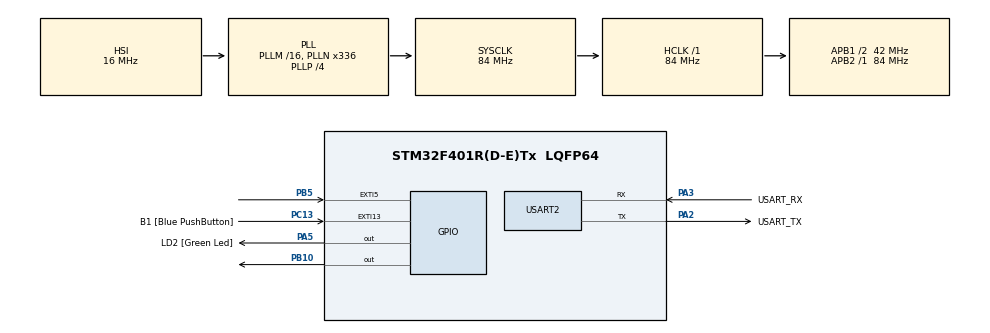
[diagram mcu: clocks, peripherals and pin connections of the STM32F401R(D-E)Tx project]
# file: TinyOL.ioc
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Mcu.Family=STM32F4
Mcu.Name=STM32F401R(D-E)Tx
Mcu.Package=LQFP64
NVIC.EXTI15_10_IRQn=true\:0\:0\:false\:false\:true\:true\:true
NVIC.EXTI9_5_IRQn=true\:0\:0\:false\:false\:true\:true\:true
NVIC.PriorityGroup=NVIC_PRIORITYGROUP_0
NVIC.TIM1_UP_TIM10_IRQn=true\:0\:0\:false\:false\:true\:true\:true
NVIC.USART2_IRQn=true\:0\:0\:false\:false\:true\:true\:true
PA13.GPIO_Label=TMS
PA13.Mode=Serial_Wire
PA13.Signal=SYS_JTMS-SWDIO
PA14.GPIO_Label=TCK
PA14.Mode=Serial_Wire
PA14.Signal=SYS_JTCK-SWCLK
PA2.GPIO_Label=USART_TX
PA2.GPIO_Mode=GPIO_MODE_AF_PP
PA2.GPIO_PuPd=GPIO_NOPULL
PA2.GPIO_Speed=GPIO_SPEED_FREQ_LOW
PA2.Mode=Asynchronous
PA2.Signal=USART2_TX
PA3.GPIO_Label=USART_RX
PA3.GPIO_Mode=GPIO_MODE_AF_PP
PA3.GPIO_PuPd=GPIO_NOPULL
PA3.GPIO_Speed=GPIO_SPEED_FREQ_LOW
PA3.Mode=Asynchronous
PA3.Signal=USART2_RX
PA5.GPIO_Label=LD2 [Green Led]
PA5.GPIO_Mode=GPIO_MODE_OUTPUT_PP
PA5.GPIO_PuPd=GPIO_NOPULL
PA5.GPIO_Speed=GPIO_SPEED_FREQ_LOW
PA5.Signal=GPIO_Output
PB10.Signal=GPIO_Output
PB3.GPIO_Label=SWO
PB3.Signal=SYS_JTDO-SWO
PB5.Signal=GPXTI5
PC13-ANTI_TAMP.GPIO_Label=B1 [Blue PushButton]
PC13-ANTI_TAMP.GPIO_ModeDefaultEXTI=GPIO_MODE_IT_FALLING
PC13-ANTI_TAMP.GPIO_PuPd=GPIO_NOPULL
PC13-ANTI_TAMP.Signal=GPXTI13
PC14-OSC32_IN.Mode=LSE-External-Oscillator
PC14-OSC32_IN.Signal=RCC_OSC32_IN
PC15-OSC32_OUT.Mode=LSE-External-Oscillator
PC15-OSC32_OUT.Signal=RCC_OSC32_OUT
PH0\ -\ OSC_IN.Mode=HSE-External-Clock-Source
PH0\ -\ OSC_IN.Signal=RCC_OSC_IN
PH1\ -\ OSC_OUT.Mode=HSE-External-Clock-Source
PH1\ -\ OSC_OUT.Signal=RCC_OSC_OUT
ProjectManager.HeapSize=0x200
ProjectManager.StackSize=0x1000
ProjectManager.TargetToolchain=STM32CubeIDE
RCC.48MHZClocksFreq_Value=48000000
RCC.AHBFreq_Value=84000000
RCC.APB1CLKDivider=RCC_HCLK_DIV2
RCC.APB1Freq_Value=42000000
RCC.APB1TimFreq_Value=84000000
RCC.APB2Freq_Value=84000000
RCC.APB2TimFreq_Value=84000000
RCC.CortexFreq_Value=84000000
RCC.HCLKFreq_Value=84000000
RCC.HSE_VALUE=8000000
RCC.HSI_VALUE=16000000
RCC.PLLN=336
RCC.PLLP=RCC_PLLP_DIV4
RCC.PLLQ=7
RCC.SYSCLKFreq_VALUE=84000000
RCC.SYSCLKSource=RCC_SYSCLKSOURCE_PLLCLK
RCC.VCOOutputFreq_Value=336000000
STMicroelectronics.X-CUBE-AI.6.0.0.ActivationBufferSizeList=3936
STMicroelectronics.X-CUBE-AI.6.0.0.ApplicationCcDeviceJjApplication=ApplicationTemplate
STMicroelectronics.X-CUBE-AI.6.0.0.HeapSize=0x200
STMicroelectronics.X-CUBE-AI.6.0.0.InternalRamActivationBufferMaxSize=AI_NETWORK_DATA_ACTIVATIONS_SIZE
STMicroelectronics.X-CUBE-AI.6.0.0.LatestDirectoryUsed-1b13fbfa771a0f7f96e160cd38a638a78c071cb71243306542fe5050afff5c71=C\:\\Users\\massi\\UNI\\Magistrale\\Anno 5\\Semestre 2\\Tesi\\Code\\Letters_application\\Python\\Saved_models\\Frozen_model
STMicroelectronics.X-CUBE-AI.6.0.0.MaximumNumberOfInputLayer=1
STMicroelectronics.X-CUBE-AI.6.0.0.MaximumNumberOfOutputLayer=1
STMicroelectronics.X-CUBE-AI.6.0.0.MaximumSizeOfInputLayer=AI_NETWORK_IN_1_SIZE_BYTES
STMicroelectronics.X-CUBE-AI.6.0.0.MaximumSizeOfOutputLayer=AI_NETWORK_OUT_1_SIZE_BYTES
STMicroelectronics.X-CUBE-AI.6.0.0.ModelActualCompression-1b13fbfa771a0f7f96e160cd38a638a78c071cb71243306542fe5050afff5c71=0.0
STMicroelectronics.X-CUBE-AI.6.0.0.ModelCompression-1b13fbfa771a0f7f96e160cd38a638a78c071cb71243306542fe5050afff5c71=1
STMicroelectronics.X-CUBE-AI.6.0.0.ModelFlashOccupation-1b13fbfa771a0f7f96e160cd38a638a78c071cb71243306542fe5050afff5c71=373760
STMicroelectronics.X-CUBE-AI.6.0.0.ModelHashList=1b13fbfa771a0f7f96e160cd38a638a78c071cb71243306542fe5050afff5c71
STMicroelectronics.X-CUBE-AI.6.0.0.ModelKind-1b13fbfa771a0f7f96e160cd38a638a78c071cb71243306542fe5050afff5c71=KERAS
STMicroelectronics.X-CUBE-AI.6.0.0.ModelMacc-1b13fbfa771a0f7f96e160cd38a638a78c071cb71243306542fe5050afff5c71=93696
STMicroelectronics.X-CUBE-AI.6.0.0.ModelName-1b13fbfa771a0f7f96e160cd38a638a78c071cb71243306542fe5050afff5c71=network
STMicroelectronics.X-CUBE-AI.6.0.0.ModelNameList=network
STMicroelectronics.X-CUBE-AI.6.0.0.ModelRamOccupation-1b13fbfa771a0f7f96e160cd38a638a78c071cb71243306542fe5050afff5c71=3936
STMicroelectronics.X-CUBE-AI.6.0.0.ModelStructureFile-1b13fbfa771a0f7f96e160cd38a638a78c071cb71243306542fe5050afff5c71=C\:\\Users\\massi\\UNI\\Magistrale\\Anno 5\\Semestre 2\\Tesi\\Code\\Letters_application\\Python\\Saved_models\\Frozen_model\\model.h5
STMicroelectronics.X-CUBE-AI.6.0.0.ModelType-1b13fbfa771a0f7f96e160cd38a638a78c071cb71243306542fe5050afff5c71=Saved model
STMicroelectronics.X-CUBE-AI.6.0.0.StackSize=0x1000
STMicroelectronics.X-CUBE-AI.6.0.0.WorkingBufferStartAddrList=0xFFFFFFFF
STMicroelectronics.X-CUBE-AI.6.0.0.XAaCUBEAaAICcArtificialOoIntelligenceJjCore=true
TIM10.Period=40-1
TIM10.Prescaler=21-1
USART2.VirtualMode=VM_ASYNC
VP_CRC_VS_CRC.Mode=CRC_Activate
VP_STMicroelectronics.X-CUBE-AI_VS_ArtificialOoIntelligenceJjXAaCUBEAaAI_6.0.0.Mode=ArtificialOoIntelligenceJjXAaCUBEAaAI
VP_STMicroelectronics.X-CUBE-AI_VS_DeviceJjApplication_6.0.0.Mode=DeviceJjApplication
VP_TIM10_VS_ClockSourceINT.Mode=Enable_Timer
board=NUCLEO-F401RE

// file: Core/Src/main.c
/* USER CODE BEGIN Header */
/**
  ******************************************************************************
  * @file           : main.c
  * @brief          : Main program body
  ******************************************************************************
  * @attention
  *
  * <h2><center>&copy; Copyright (c) 2021 STMicroelectronics.
  * All rights reserved.</center></h2>
  *
  * This software component is licensed by ST under BSD 3-Clause license,
  * the "License"; You may not use this file except in compliance with the
  * License. You may obtain a copy of the License at:
  *                        opensource.org/licenses/BSD-3-Clause
  *
  ******************************************************************************
  */
/* USER CODE END Header */
#include "main.h"
#include "crc.h"
#include "tim.h"
#include "usart.h"
#include "gpio.h"
#include "app_x-cube-ai.h"

/* USER CODE BEGIN Includes */

// Includes for the STM AI
#include "network.h"
#include "network_data.h"
#include "ai_platform.h"
#include "ai_datatypes_defines.h"

// My library include
#include "TinyOL.h"
#include "layer_weights.h"

/* USER CODE END Includes */

/* USER CODE BEGIN PV */

// Values for the CUBE AI
ai_float in_data[AI_NETWORK_IN_1_SIZE];
ai_float out_data[AI_NETWORK_OUT_1_SIZE];

// Flags for enabling/disabling the prediction
int ENABLE_INFERENCE = 0;
uint8_t BlueButton = 0;
char letter[1];

uint8_t dummy = 0;

// Values for keeping track of time passed
uint32_t timer_counter = 0;
uint32_t inferenceTime_frozen = 0;
uint32_t inferenceTime_OL = 0;

/* USER CODE END PV */

void SystemClock_Config(void);

int main(void)
{

  /* MCU Configuration--------------------------------------------------------*/

  /* Reset of all peripherals, Initializes the Flash interface and the Systick. */
  HAL_Init();

  /* Configure the system clock */
  SystemClock_Config();

  /* Initialize all configured peripherals */
  MX_GPIO_Init();
  MX_USART2_UART_Init();
  MX_CRC_Init();
  MX_TIM10_Init();
  MX_X_CUBE_AI_Init();
  /* USER CODE BEGIN 2 */

#ifdef DEBUG_SEND_HISTORY
  int numeri[10*8] = {46,13,107,3,57,65,127,81,89,70,
  						143,239,142,158,207,189,172,230,156,208,
  						374,359,375,371,303,298,350,257,349,333,
  						402,502,485,461,489,479,454,508,485,480,
  						527,565,614,517,528,613,625,623,587,521,
  						712,742,685,746,759,747,754,702,653,640,
  						775,809,798,853,804,840,828,788,890,819,
  						906,1019,911,1005,1016,953,1016,987,961,1023};
# endif

  // *************************************
  //                  INITIALIZE OL-STRUCT
  // *************************************

  OL_LAYER_STRUCT OL_layer;

  // The available algorithms are:
  //	MODE_OL
  //	MODE_OL_V2
  //	MODE_CWR
  //    MODE_LWF
  //	MODE_OL_batch
  //	MODE_OL_V2_batch
  //	MODE_LWF_batch
  // 	MODE_MY_ALG
  OL_layer.ALGORITHM = MODE_MY_ALG;

  OL_layer.batch_size = 16;

  // Define the learn rate depending on the algorithm
  if(OL_layer.ALGORITHM       == MODE_OL){
	  OL_layer.l_rate = 0.001;
  }else if(OL_layer.ALGORITHM == MODE_OL_batch){
	  OL_layer.l_rate = 0.0001;
  }else if(OL_layer.ALGORITHM == MODE_OL_V2){
	  OL_layer.l_rate = 0.001;
  }else if(OL_layer.ALGORITHM == MODE_OL_V2_batch){
	  OL_layer.l_rate = 0.001;
  }else if(OL_layer.ALGORITHM == MODE_CWR){
	  OL_layer.l_rate = 0.0005;
	  OL_layer.end_training = 3476;
  }else if(OL_layer.ALGORITHM == MODE_LWF){
	  OL_layer.l_rate = 0.001;
  }else if(OL_layer.ALGORITHM == MODE_LWF_batch){
	  OL_layer.l_rate = 0.0007;
  }else if(OL_layer.ALGORITHM == MODE_MY_ALG){
	  OL_layer.l_rate = 0.005;
  }

  // Initialize all the other values in the struct
  // The values below should always stay the same
  OL_layer.WIDTH    	= 5;
  OL_layer.HEIGHT   	= AI_NETWORK_OUT_1_SIZE;
  OL_layer.counter  	= 0;
  OL_layer.OL_ERROR 	= 0;
  OL_layer.freeRAMbytes = 100000000;

  // Allocate all the necessary matrices/arrays
  OL_allocateMemory(&OL_layer);

  // Fill up labels
  OL_layer.label[0] = 'A';
  OL_layer.label[1] = 'E';
  OL_layer.label[2] = 'I';
  OL_layer.label[3] = 'O';
  OL_layer.label[4] = 'U';

  // Fill up the weight matrix with the weights from the Keras model
  for(int i=0; i<OL_layer.WIDTH*OL_layer.HEIGHT; i++){
  	  OL_layer.weights[i] = saved_weights[i];
  }
  // Fill up the biases array with the weights from the Keras model
  for(int i=0; i<OL_layer.WIDTH; i++){
	  OL_layer.biases[i] = saved_biases[i];
  }

  // Fill up weights2 and biases2 only in the case of LWF or MY_ALG
  if(OL_layer.ALGORITHM == MODE_LWF || OL_layer.ALGORITHM == MODE_LWF_batch || OL_layer.ALGORITHM == MODE_MY_ALG){
	  for(int i=0; i<OL_layer.WIDTH*OL_layer.HEIGHT; i++){
	  	  OL_layer.weights_2[i] = saved_weights[i];
	  }
	  for(int i=0; i<OL_layer.WIDTH; i++){
		  OL_layer.biases_2[i] = saved_biases[i];
	  }
  }

  HAL_TIM_Base_Start_IT(&htim10);	// Start the timer for counting inference time (1 timer increment = 10 micro sec)

  /* USER CODE END 2 */

  /* Infinite loop */
  /* USER CODE BEGIN WHILE */
  while (1)
  {

	  // ENABLE_INFERENCE flag is raised at the end of the data communication between pc-STM
	  // (see interrupt callbacks at the end of the main)
	  if(ENABLE_INFERENCE == 1){

		  // *************************
		  //                   DATA IN
		  // *************************
		  // Reset the info carried from the OL struct
		  OL_resetInfo(&OL_layer);

		  // Decode the message received from the UART communication
		  // The message sent from the PC is specifically encoded in a way that allows
		  // to recognize negative values easily -> explained in the readme file
		  uint8_t tmp;
		  for(int k=0; k<600; k++){
			  tmp = msgRxData[k*2];
			  if((tmp&128) == 128){
				  tmp = tmp & 127;
				  in_data[k] = -((tmp << 8) | (msgRxData[(k*2)+1]));
			  }else{
				  in_data[k] = (msgRxData[(k*2)] << 8) | (msgRxData[(k*2)+1]);
			  }
		  }

		  // *************************
		  //                 INFERENCE
		  // *************************
		  timer_counter = 0;										// Reset time

		  ai_run_v2(&in_data, &out_data);							// Perform inference from frozen model

		  inferenceTime_frozen = timer_counter;						// Measure frozen model inference time

		  OL_checkNewClass(&OL_layer, letter);						// Check if the letter is known, otherwise increase dimensions of weight and biases
		  OL_lettToSoft(&OL_layer, letter);							// Transform the letter char into a hot one encoded softmax array

		  OL_train(&OL_layer, out_data);							// Perform training on last captured sample

		  inferenceTime_OL = timer_counter-inferenceTime_frozen;	// Measure OL time

		  // *************************
		  //                  DATA OUT
		  // *************************
		  // Send info data to pc
		  msgInfo[0] = OL_layer.ALGORITHM;									// int
		  msgInfo[1] = OL_layer.counter;									// int
		  msgInfo[2] = (uint8_t)(inferenceTime_frozen & LOW_BYTE); 	 		// int - low byte
		  msgInfo[3] = (uint8_t)((inferenceTime_frozen>>8) & LOW_BYTE); 	// int - high byte
		  msgInfo[4] = (uint8_t)(inferenceTime_OL & LOW_BYTE);				// int - low byte
		  msgInfo[5] = (uint8_t)((inferenceTime_OL>>8) & LOW_BYTE);			// int - high byte
		  msgInfo[6] = OL_layer.new_class;									// 0 or 1
		  msgInfo[7] = OL_layer.prediction_correct;							// 0, 1, 2
		  msgInfo[8] = OL_layer.WIDTH;										// int
		  msgInfo[9] = OL_layer.vowel_guess;								// char

		  HAL_UART_Transmit(&huart2, (uint8_t*)msgInfo, INFO_LEN, 100);		// Send message

#ifdef DEBUG_SEND_HISTORY
		  // Fill the array with the history of BIAS - SOFTMAX - PRE SOFTMAX
		  for(int k=0; k<8; k++){
			  sendBiasUART(&OL_layer, k, k*4, msgBias);
			  sendSoftmaxUART(&OL_layer, k, k*4, msgSoftmax);
		  }

		  // Fill the array with the history of WEIGHTS
		  for(int k=0; k<10*8; k++){
			  sendWeightsUART(&OL_layer, numeri[k], k*4, msgWeights);   // send weight
		  }

		  // Fill the array with the history of FROZEN MODEL OUTPUT
		  for(int k=0; k<128; k++){
			  sendFrozenOutUART(&OL_layer, k, k*4, out_data, msgFrozenOut);
		  }

		  if(OL_layer.counter <= 951){ //3476
			  HAL_Delay(15); 			// Helps the code to not get stuck, no idea why
			  HAL_UART_Transmit(&huart2, (uint8_t*)msgBias, 8*4, 100);
			  HAL_UART_Transmit(&huart2, (uint8_t*)msgWeights, 10*8*4, 100);
			  HAL_UART_Transmit(&huart2, (uint8_t*)msgFrozenOut, 128*4, 100);
			  HAL_UART_Transmit(&huart2, (uint8_t*)msgSoftmax, 8*4, 100);
			  HAL_UART_Transmit(&huart2, (uint8_t*)msgPreSoftmax, 8*4, 100);
		  }
#endif

		  HAL_GPIO_TogglePin(GPIOA, GPIO_PIN_5);	// LED toggle
		  ENABLE_INFERENCE = 0;						// Reset inference flag

		  if(((OL_layer.counter-1) % 10 == 0) && (OL_layer.counter >= 100)){
			  OL_layer.batch_size = 8;
		  }
	  }

	  HAL_Delay(5); 			// Helps the code to not get stuck

	  // If the blue button has been pressed and the cycle inference cycle is finished enable again the interrupt for the infinite cycle
	  if(BlueButton == 1 && ENABLE_INFERENCE == 0){
		  HAL_GPIO_WritePin(GPIOB, GPIO_PIN_10, GPIO_PIN_SET);	// Set high the value for interrupt for infinity cycle
	  }

	  // ************************************************************************************
	  // IMPORTANT
	  // Remember to always comment or remove the line below "MX_X_CUBE_AI_Process();"
	  // The line gets generated automatically from the CUBE IDE/CUBE MX
	  // ************************************************************************************
    /* USER CODE END WHILE */

  //MX_X_CUBE_AI_Process();
  }
}

void SystemClock_Config(void)
{
  RCC_OscInitTypeDef RCC_OscInitStruct = {0};
  RCC_ClkInitTypeDef RCC_ClkInitStruct = {0};

  /** Configure the main internal regulator output voltage
  */
  __HAL_RCC_PWR_CLK_ENABLE();
  __HAL_PWR_VOLTAGESCALING_CONFIG(PWR_REGULATOR_VOLTAGE_SCALE2);
  /** Initializes the RCC Oscillators according to the specified parameters
  * in the RCC_OscInitTypeDef structure.
  */
  RCC_OscInitStruct.OscillatorType = RCC_OSCILLATORTYPE_HSI;
  RCC_OscInitStruct.HSIState = RCC_HSI_ON;
  RCC_OscInitStruct.HSICalibrationValue = RCC_HSICALIBRATION_DEFAULT;
  RCC_OscInitStruct.PLL.PLLState = RCC_PLL_ON;
  RCC_OscInitStruct.PLL.PLLSource = RCC_PLLSOURCE_HSI;
  RCC_OscInitStruct.PLL.PLLM = 16;
  RCC_OscInitStruct.PLL.PLLN = 336;
  RCC_OscInitStruct.PLL.PLLP = RCC_PLLP_DIV4;
  RCC_OscInitStruct.PLL.PLLQ = 7;
  if (HAL_RCC_OscConfig(&RCC_OscInitStruct) != HAL_OK)
  {
    Error_Handler();
  }
  /** Initializes the CPU, AHB and APB buses clocks
  */
  RCC_ClkInitStruct.ClockType = RCC_CLOCKTYPE_HCLK|RCC_CLOCKTYPE_SYSCLK
                              |RCC_CLOCKTYPE_PCLK1|RCC_CLOCKTYPE_PCLK2;
  RCC_ClkInitStruct.SYSCLKSource = RCC_SYSCLKSOURCE_PLLCLK;
  RCC_ClkInitStruct.AHBCLKDivider = RCC_SYSCLK_DIV1;
  RCC_ClkInitStruct.APB1CLKDivider = RCC_HCLK_DIV2;
  RCC_ClkInitStruct.APB2CLKDivider = RCC_HCLK_DIV1;

  if (HAL_RCC_ClockConfig(&RCC_ClkInitStruct, FLASH_LATENCY_2) != HAL_OK)
  {
    Error_Handler();
  }
}

/* USER CODE BEGIN 4 */

// INTERRUPTS
void HAL_GPIO_EXTI_Callback(uint16_t GPIO_Pin){

	if(BlueButton == 0){ 		// Avoid double clicks

		// When the blue button is pressed the first time it enables the STM to receive the first input message. Then
		// the STM automatically continues to recive messages from the PC.

		if(GPIO_Pin == B1_Pin){													// If interrupt is blue button

			HAL_GPIO_TogglePin(GPIOA, GPIO_PIN_5);								// Toggle LED

			BlueButton = 1;														// Raise blue button flag

			msgLen = sprintf(msgDebug, "OK");
			HAL_UART_Transmit(&huart2, (uint8_t*)msgDebug, msgLen, 100);		// Send to pc message in order to sync, the pc is waiting a msg long 2

			HAL_UART_Receive(&huart2, (uint8_t*)msgRxData, DATA_LEN, 100);	    // Receive the array data from the pc - array is long 600

			HAL_UART_Receive(&huart2, (uint8_t*)msgRxLett, LETTER_LEN, 100);	// Receive the label char from the pc - label is long 1

			letter[0] = msgRxLett[0];											// Store the received message in the label container

			ENABLE_INFERENCE = 1;												// Raise the flag that enables the inference at the next cyle in the while
		}
	}

	// In order to have a code that loops continuosly and keeps receiving data and inferencing it, it's necessary
	// to have a signal that notices when the STM finishes an inference.This is done by short cuircuiting 2 GPIOs. In
	// this case I use an output GPIO (B10) and an input interrupt GPIO (B5) for doing this. The output is raised high when
	// the inference in the while loop is finished, the other is an interrupt that is triggered when it reads this signal high.
	// Once the interrupt is triggered the code enters here and it syncs with the PC reading the message through he UART

	if(BlueButton == 1){	// If the blue button has been pressed once

		if(GPIO_Pin == GPIO_PIN_5){	// If the interrupt is the GPIO pin

			HAL_GPIO_WritePin(GPIOB, GPIO_PIN_10, GPIO_PIN_RESET);				// Set low the GPIO pin that signals the end of a cycle

			msgLen = sprintf(msgDebug, "OK");
			HAL_UART_Transmit(&huart2, (uint8_t*)msgDebug, msgLen, 100);		// Send to pc sync msg, the pc is waiting a msg long 2, no need to be exactly 'OK'

			HAL_UART_Receive(&huart2, (uint8_t*)msgRxData, DATA_LEN, 100);	    // Receive the array data from the pc - array is long 600

			HAL_UART_Receive(&huart2, (uint8_t*)msgRxLett, LETTER_LEN, 100);	// Receive the label char from the pc - label is long 1

			letter[0] = msgRxLett[0];											// Store the received message in the label container

			ENABLE_INFERENCE = 1;												// Raise the flag that enables the inference at the next cyle in the while
		}
	}
}

void HAL_TIM_PeriodElapsedCallback( TIM_HandleTypeDef *htim){
	timer_counter += 1;	// 10 micro sec has passed

	// Use this if cycle just for debugging and see how much memory is used after 100 input samples
	//OL_updateFreeRAM();
}

/* USER CODE END 4 */

void Error_Handler(void)
{
  __disable_irq();
  while (1)
  {
  }
}

/************************ (C) COPYRIGHT STMicroelectronics *****END OF FILE****/
